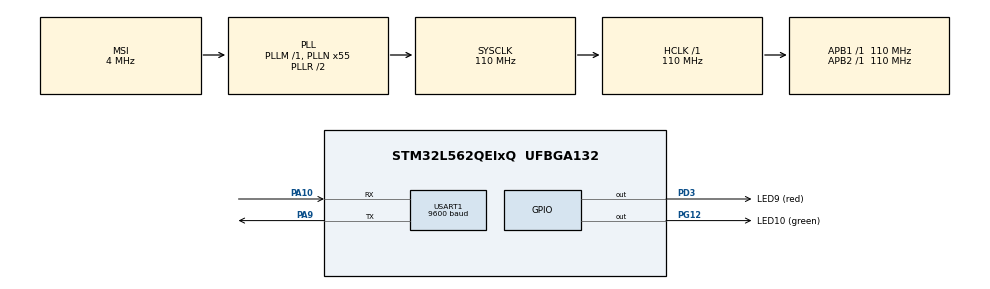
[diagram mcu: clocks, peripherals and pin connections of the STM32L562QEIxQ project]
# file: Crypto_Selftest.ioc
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FREERTOS.Tasks01=Crypto,24,5120,mbedTLS_Selftest_Thread,Default,NULL,Dynamic,NULL,NULL
FREERTOS.configTIMER_TASK_PRIORITY=32
FREERTOS.configTOTAL_HEAP_SIZE=51200
FREERTOS.configUSE_TRACE_FACILITY=1
HASH.DataType=HASH_DATATYPE_32B
HASH.SecureHashAlgorithmType=SHA1
MBEDTLS.MBEDTLS_AESNI_C=0
MBEDTLS.MBEDTLS_AES_ALT=1
MBEDTLS.MBEDTLS_AES_C=1
MBEDTLS.MBEDTLS_AES_DECRYPT_ALT=0
MBEDTLS.MBEDTLS_AES_ENCRYPT_ALT=0
MBEDTLS.MBEDTLS_AES_FEWER_TABLES=0
MBEDTLS.MBEDTLS_AES_ROM_TABLES=0
MBEDTLS.MBEDTLS_AES_SETKEY_DEC_ALT=0
MBEDTLS.MBEDTLS_AES_SETKEY_ENC_ALT=0
MBEDTLS.MBEDTLS_ARC4_ALT=0
MBEDTLS.MBEDTLS_ARC4_C=0
MBEDTLS.MBEDTLS_ARIA_ALT=0
MBEDTLS.MBEDTLS_ARIA_C=0
MBEDTLS.MBEDTLS_ASN1_PARSE_C=0
MBEDTLS.MBEDTLS_ASN1_WRITE_C=0
MBEDTLS.MBEDTLS_BASE64_C=0
MBEDTLS.MBEDTLS_BIGNUM_C=0
MBEDTLS.MBEDTLS_BLOWFISH_ALT=0
MBEDTLS.MBEDTLS_BLOWFISH_C=0
MBEDTLS.MBEDTLS_CAMELLIA_ALT=0
MBEDTLS.MBEDTLS_CAMELLIA_C=0
MBEDTLS.MBEDTLS_CAMELLIA_SMALL_MEMORY=0
MBEDTLS.MBEDTLS_CCM_ALT=1
MBEDTLS.MBEDTLS_CCM_C=1
MBEDTLS.MBEDTLS_CERTS_C=0
MBEDTLS.MBEDTLS_CHACHA20_ALT=0
MBEDTLS.MBEDTLS_CHACHA20_C=0
MBEDTLS.MBEDTLS_CHACHAPOLY_ALT=0
MBEDTLS.MBEDTLS_CHACHAPOLY_C=0
MBEDTLS.MBEDTLS_CIPHER_C=1
MBEDTLS.MBEDTLS_CIPHER_MODE_CBC=1
MBEDTLS.MBEDTLS_CIPHER_MODE_CFB=1
MBEDTLS.MBEDTLS_CIPHER_MODE_CTR=1
MBEDTLS.MBEDTLS_CIPHER_MODE_OFB=1
MBEDTLS.MBEDTLS_CIPHER_MODE_XTS=1
MBEDTLS.MBEDTLS_CIPHER_NULL_CIPHER=0
MBEDTLS.MBEDTLS_CIPHER_PADDING_ONE_AND_ZEROS=0
MBEDTLS.MBEDTLS_CIPHER_PADDING_PKCS7=0
MBEDTLS.MBEDTLS_CIPHER_PADDING_ZEROS=0
MBEDTLS.MBEDTLS_CIPHER_PADDING_ZEROS_AND_LEN=0
MBEDTLS.MBEDTLS_CMAC_ALT=0
MBEDTLS.MBEDTLS_CMAC_C=0
MBEDTLS.MBEDTLS_CTR_DRBG_C=0
MBEDTLS.MBEDTLS_CTR_DRBG_ENTROPY_LEN_ENABLE=0
MBEDTLS.MBEDTLS_CTR_DRBG_MAX_INPUT_ENABLE=0
MBEDTLS.MBEDTLS_CTR_DRBG_MAX_REQUEST_ENABLE=0
MBEDTLS.MBEDTLS_CTR_DRBG_MAX_SEED_INPUT_ENABLE=0
MBEDTLS.MBEDTLS_CTR_DRBG_RESEED_INTERVAL_ENABLE=0
MBEDTLS.MBEDTLS_CTR_DRBG_USE_128_BIT_KEY_ENABLE=0
MBEDTLS.MBEDTLS_DEBUG_C=0
MBEDTLS.MBEDTLS_DEPRECATED_REMOVED=0
MBEDTLS.MBEDTLS_DEPRECATED_WARNING=0
MBEDTLS.MBEDTLS_DES3_CRYPT_ECB_ALT=0
MBEDTLS.MBEDTLS_DES_ALT=0
MBEDTLS.MBEDTLS_DES_C=0
MBEDTLS.MBEDTLS_DES_CRYPT_ECB_ALT=0
MBEDTLS.MBEDTLS_DES_SETKEY_ALT=0
MBEDTLS.MBEDTLS_DHM_ALT=0
MBEDTLS.MBEDTLS_DHM_C=0
MBEDTLS.MBEDTLS_ECDH_C=0
MBEDTLS.MBEDTLS_ECDH_COMPUTE_SHARED_ALT=0
MBEDTLS.MBEDTLS_ECDH_GEN_PUBLIC_ALT=0
MBEDTLS.MBEDTLS_ECDSA_C=0
MBEDTLS.MBEDTLS_ECDSA_DETERMINISTIC=0
MBEDTLS.MBEDTLS_ECDSA_GENKEY_ALT=0
MBEDTLS.MBEDTLS_ECDSA_SIGN_ALT=0
MBEDTLS.MBEDTLS_ECDSA_VERIFY_ALT=0
MBEDTLS.MBEDTLS_ECJPAKE_ALT=0
MBEDTLS.MBEDTLS_ECJPAKE_C=0
MBEDTLS.MBEDTLS_ECP_ADD_MIXED_ALT=0
MBEDTLS.MBEDTLS_ECP_ALT=0
MBEDTLS.MBEDTLS_ECP_C=0
MBEDTLS.MBEDTLS_ECP_DOUBLE_ADD_MXZ_ALT=0
MBEDTLS.MBEDTLS_ECP_DOUBLE_JAC_ALT=0
MBEDTLS.MBEDTLS_ECP_DP_BP256R1_ENABLED=0
MBEDTLS.MBEDTLS_ECP_DP_BP384R1_ENABLED=0
MBEDTLS.MBEDTLS_ECP_DP_BP512R1_ENABLED=0
MBEDTLS.MBEDTLS_ECP_DP_CURVE25519_ENABLED=0
MBEDTLS.MBEDTLS_ECP_DP_CURVE448_ENABLED=0
MBEDTLS.MBEDTLS_ECP_DP_SECP192K1_ENABLED=0
MBEDTLS.MBEDTLS_ECP_DP_SECP192R1_ENABLED=0
MBEDTLS.MBEDTLS_ECP_DP_SECP224K1_ENABLED=0
MBEDTLS.MBEDTLS_ECP_DP_SECP224R1_ENABLED=0
MBEDTLS.MBEDTLS_ECP_DP_SECP256K1_ENABLED=0
MBEDTLS.MBEDTLS_ECP_DP_SECP256R1_ENABLED=0
MBEDTLS.MBEDTLS_ECP_DP_SECP384R1_ENABLED=0
MBEDTLS.MBEDTLS_ECP_DP_SECP521R1_ENABLED=0
MBEDTLS.MBEDTLS_ECP_FIXED_POINT_OPTIM_ENABLE=0
MBEDTLS.MBEDTLS_ECP_INTERNAL_ALT=0
MBEDTLS.MBEDTLS_ECP_MAX_BITS_ENABLE=0
MBEDTLS.MBEDTLS_ECP_NIST_OPTIM=0
MBEDTLS.MBEDTLS_ECP_NORMALIZE_JAC_ALT=0
MBEDTLS.MBEDTLS_ECP_NORMALIZE_JAC_MANY_ALT=0
MBEDTLS.MBEDTLS_ECP_NORMALIZE_MXZ_ALT=0
MBEDTLS.MBEDTLS_ECP_RANDOMIZE_JAC_ALT=0
MBEDTLS.MBEDTLS_ECP_RANDOMIZE_MXZ_ALT=0
MBEDTLS.MBEDTLS_ECP_RESTARTABLE=0
MBEDTLS.MBEDTLS_ECP_WINDOW_SIZE_ENABLE=0
MBEDTLS.MBEDTLS_ENABLE_WEAK_CIPHERSUITES=0
MBEDTLS.MBEDTLS_ENTROPY_C=1
MBEDTLS.MBEDTLS_ENTROPY_FORCE_SHA256=0
MBEDTLS.MBEDTLS_ENTROPY_HARDWARE_ALT=1
MBEDTLS.MBEDTLS_ENTROPY_MAX_GATHER_ENABLE=0
MBEDTLS.MBEDTLS_ENTROPY_MAX_SOURCES_ENABLE=0
MBEDTLS.MBEDTLS_ENTROPY_MIN_HARDWARE_ENABLE=0
MBEDTLS.MBEDTLS_ENTROPY_NV_SEED=0
MBEDTLS.MBEDTLS_ERROR_C=1
MBEDTLS.MBEDTLS_ERROR_STRERROR_DUMMY=0
MBEDTLS.MBEDTLS_FS_IO=0
MBEDTLS.MBEDTLS_GCM_ALT=1
MBEDTLS.MBEDTLS_GCM_C=1
MBEDTLS.MBEDTLS_GENPRIME=0
MBEDTLS.MBEDTLS_HAVEGE_C=0
MBEDTLS.MBEDTLS_HAVE_ASM=0
MBEDTLS.MBEDTLS_HAVE_SSE2=0
MBEDTLS.MBEDTLS_HAVE_TIME=1
MBEDTLS.MBEDTLS_HAVE_TIME_DATE=0
MBEDTLS.MBEDTLS_HKDF_C=0
MBEDTLS.MBEDTLS_HMAC_DRBG_C=0
MBEDTLS.MBEDTLS_HMAC_DRBG_MAX_INPUT_ENABLE=0
MBEDTLS.MBEDTLS_HMAC_DRBG_MAX_REQUEST_ENABLE=0
MBEDTLS.MBEDTLS_HMAC_DRBG_MAX_SEED_INPUT_ENABLE=0
MBEDTLS.MBEDTLS_HMAC_DRBG_RESEED_INTERVAL_ENABLE=0
MBEDTLS.MBEDTLS_KEY_EXCHANGE_DHE_PSK_ENABLED=0
MBEDTLS.MBEDTLS_KEY_EXCHANGE_DHE_RSA_ENABLED=0
MBEDTLS.MBEDTLS_KEY_EXCHANGE_ECDHE_ECDSA_ENABLED=0
MBEDTLS.MBEDTLS_KEY_EXCHANGE_ECDHE_PSK_ENABLED=0
MBEDTLS.MBEDTLS_KEY_EXCHANGE_ECDHE_RSA_ENABLED=0
MBEDTLS.MBEDTLS_KEY_EXCHANGE_ECDH_ECDSA_ENABLED=0
MBEDTLS.MBEDTLS_KEY_EXCHANGE_ECDH_RSA_ENABLED=0
MBEDTLS.MBEDTLS_KEY_EXCHANGE_ECJPAKE_ENABLED=0
MBEDTLS.MBEDTLS_KEY_EXCHANGE_PSK_ENABLED=0
MBEDTLS.MBEDTLS_KEY_EXCHANGE_RSA_ENABLED=0
MBEDTLS.MBEDTLS_KEY_EXCHANGE_RSA_PSK_ENABLED=0
MBEDTLS.MBEDTLS_MD2_ALT=0
MBEDTLS.MBEDTLS_MD2_C=0
MBEDTLS.MBEDTLS_MD2_PROCESS_ALT=0
MBEDTLS.MBEDTLS_MD4_ALT=0
MBEDTLS.MBEDTLS_MD4_C=0
MBEDTLS.MBEDTLS_MD4_PROCESS_ALT=0
MBEDTLS.MBEDTLS_MD5_ALT=1
MBEDTLS.MBEDTLS_MD5_C=1
MBEDTLS.MBEDTLS_MD5_PROCESS_ALT=0
MBEDTLS.MBEDTLS_MD_C=0
MBEDTLS.MBEDTLS_MEMORY_ALIGN_MULTIPLE_ENABLE=0
MBEDTLS.MBEDTLS_MEMORY_BACKTRACE=0
MBEDTLS.MBEDTLS_MEMORY_BUFFER_ALLOC_C=0
MBEDTLS.MBEDTLS_MEMORY_DEBUG=0
MBEDTLS.MBEDTLS_MPI_MAX_SIZE_ENABLE=0
MBEDTLS.MBEDTLS_MPI_WINDOW_SIZE_ENABLE=0
MBEDTLS.MBEDTLS_NET_C=0
MBEDTLS.MBEDTLS_NIST_KW_ALT=0
MBEDTLS.MBEDTLS_NIST_KW_C=0
MBEDTLS.MBEDTLS_NO_64BIT_MULTIPLICATION=0
MBEDTLS.MBEDTLS_NO_DEFAULT_ENTROPY_SOURCES=0
MBEDTLS.MBEDTLS_NO_PLATFORM_ENTROPY=1
MBEDTLS.MBEDTLS_NO_UDBL_DIVISION=0
MBEDTLS.MBEDTLS_OID_C=0
MBEDTLS.MBEDTLS_PADLOCK_C=0
MBEDTLS.MBEDTLS_PEM_PARSE_C=0
MBEDTLS.MBEDTLS_PEM_WRITE_C=0
MBEDTLS.MBEDTLS_PKCS11_C=0
MBEDTLS.MBEDTLS_PKCS12_C=0
MBEDTLS.MBEDTLS_PKCS1_V15=0
MBEDTLS.MBEDTLS_PKCS1_V21=0
MBEDTLS.MBEDTLS_PKCS5_C=0
MBEDTLS.MBEDTLS_PK_C=0
MBEDTLS.MBEDTLS_PK_PARSE_C=0
MBEDTLS.MBEDTLS_PK_PARSE_EC_EXTENDED=0
MBEDTLS.MBEDTLS_PK_RSA_ALT_SUPPORT=0
MBEDTLS.MBEDTLS_PK_WRITE_C=0
MBEDTLS.MBEDTLS_PLATFORM_C=1
MBEDTLS.MBEDTLS_PLATFORM_CALLOC_MACRO_ENABLE=0
MBEDTLS.MBEDTLS_PLATFORM_EXIT_ALT=0
MBEDTLS.MBEDTLS_PLATFORM_EXIT_MACRO_ENABLE=0
MBEDTLS.MBEDTLS_PLATFORM_FPRINTF_ALT=0
MBEDTLS.MBEDTLS_PLATFORM_FPRINTF_MACRO_ENABLE=0
MBEDTLS.MBEDTLS_PLATFORM_FREE_MACRO_ENABLE=0
MBEDTLS.MBEDTLS_PLATFORM_GMTIME_R_ALT=0
MBEDTLS.MBEDTLS_PLATFORM_MEMORY=0
MBEDTLS.MBEDTLS_PLATFORM_NO_STD_FUNCTIONS=0
MBEDTLS.MBEDTLS_PLATFORM_NV_SEED_ALT=0
MBEDTLS.MBEDTLS_PLATFORM_NV_SEED_READ_MACRO_ENABLE=0
MBEDTLS.MBEDTLS_PLATFORM_NV_SEED_WRITE_MACRO_ENABLE=0
MBEDTLS.MBEDTLS_PLATFORM_PRINTF_ALT=0
MBEDTLS.MBEDTLS_PLATFORM_PRINTF_MACRO_ENABLE=0
MBEDTLS.MBEDTLS_PLATFORM_SETUP_TEARDOWN_ALT=0
MBEDTLS.MBEDTLS_PLATFORM_SNPRINTF_ALT=0
MBEDTLS.MBEDTLS_PLATFORM_SNPRINTF_MACRO_ENABLE=0
MBEDTLS.MBEDTLS_PLATFORM_STD_CALLOC_ENABLE=0
MBEDTLS.MBEDTLS_PLATFORM_STD_EXIT_ENABLE=0
MBEDTLS.MBEDTLS_PLATFORM_STD_EXIT_FAILURE_ENABLE=0
MBEDTLS.MBEDTLS_PLATFORM_STD_EXIT_SUCCESS_ENABLE=0
MBEDTLS.MBEDTLS_PLATFORM_STD_FPRINTF_ENABLE=0
MBEDTLS.MBEDTLS_PLATFORM_STD_FREE_ENABLE=0
MBEDTLS.MBEDTLS_PLATFORM_STD_MEM_HDR_ENABLE=0
MBEDTLS.MBEDTLS_PLATFORM_STD_NV_SEED_FILE_ENABLE=0
MBEDTLS.MBEDTLS_PLATFORM_STD_NV_SEED_READ_ENABLE=0
MBEDTLS.MBEDTLS_PLATFORM_STD_NV_SEED_WRITE_ENABLE=0
MBEDTLS.MBEDTLS_PLATFORM_STD_PRINTF_ENABLE=0
MBEDTLS.MBEDTLS_PLATFORM_STD_SNPRINTF_ENABLE=0
MBEDTLS.MBEDTLS_PLATFORM_STD_TIME_ENABLE=0
MBEDTLS.MBEDTLS_PLATFORM_TIME_ALT=0
MBEDTLS.MBEDTLS_PLATFORM_TIME_MACRO_ENABLE=0
MBEDTLS.MBEDTLS_PLATFORM_TIME_TYPE_MACRO_ENABLE=0
MBEDTLS.MBEDTLS_PLATFORM_ZEROIZE_ALT=0
MBEDTLS.MBEDTLS_POLY1305_ALT=0
MBEDTLS.MBEDTLS_POLY1305_C=0
MBEDTLS.MBEDTLS_PSK_MAX_LEN_ENABLE=0
MBEDTLS.MBEDTLS_REMOVE_ARC4_CIPHERSUITES=1
MBEDTLS.MBEDTLS_RIPEMD160_ALT=0
MBEDTLS.MBEDTLS_RIPEMD160_C=0
MBEDTLS.MBEDTLS_RIPEMD160_PROCESS_ALT=0
MBEDTLS.MBEDTLS_RNG_IP=HW_RNG
MBEDTLS.MBEDTLS_RSA_ALT=0
MBEDTLS.MBEDTLS_RSA_C=0
MBEDTLS.MBEDTLS_RSA_NO_CRT=0
MBEDTLS.MBEDTLS_SELF_TEST=1
MBEDTLS.MBEDTLS_SHA1_ALT=1
MBEDTLS.MBEDTLS_SHA1_C=1
MBEDTLS.MBEDTLS_SHA1_PROCESS_ALT=0
MBEDTLS.MBEDTLS_SHA256_ALT=1
MBEDTLS.MBEDTLS_SHA256_C=1
MBEDTLS.MBEDTLS_SHA256_PROCESS_ALT=0
MBEDTLS.MBEDTLS_SHA256_SMALLER=0
MBEDTLS.MBEDTLS_SHA512_ALT=0
MBEDTLS.MBEDTLS_SHA512_C=0
MBEDTLS.MBEDTLS_SHA512_PROCESS_ALT=0
MBEDTLS.MBEDTLS_SSL_ALL_ALERT_MESSAGES=0
MBEDTLS.MBEDTLS_SSL_ALPN=0
MBEDTLS.MBEDTLS_SSL_ASYNC_PRIVATE=0
MBEDTLS.MBEDTLS_SSL_CACHE_C=0
MBEDTLS.MBEDTLS_SSL_CACHE_DEFAULT_MAX_ENTRIES_ENABLE=0
MBEDTLS.MBEDTLS_SSL_CACHE_DEFAULT_TIMEOUT_ENABLE=0
MBEDTLS.MBEDTLS_SSL_CBC_RECORD_SPLITTING=0
MBEDTLS.MBEDTLS_SSL_CIPHERSUITES_ENABLE=0
MBEDTLS.MBEDTLS_SSL_CLI_C=0
MBEDTLS.MBEDTLS_SSL_COOKIE_C=0
MBEDTLS.MBEDTLS_SSL_COOKIE_TIMEOUT_ENABLE=0
MBEDTLS.MBEDTLS_SSL_DEBUG_ALL=0
MBEDTLS.MBEDTLS_SSL_DEFAULT_TICKET_LIFETIME_ENABLE=0
MBEDTLS.MBEDTLS_SSL_DTLS_ANTI_REPLAY=0
MBEDTLS.MBEDTLS_SSL_DTLS_BADMAC_LIMIT=0
MBEDTLS.MBEDTLS_SSL_DTLS_CLIENT_PORT_REUSE=0
MBEDTLS.MBEDTLS_SSL_DTLS_HELLO_VERIFY=0
MBEDTLS.MBEDTLS_SSL_DTLS_MAX_BUFFERING_ENABLE=0
MBEDTLS.MBEDTLS_SSL_ENCRYPT_THEN_MAC=0
MBEDTLS.MBEDTLS_SSL_EXPORT_KEYS=0
MBEDTLS.MBEDTLS_SSL_EXTENDED_MASTER_SECRET=0
MBEDTLS.MBEDTLS_SSL_FALLBACK_SCSV=0
MBEDTLS.MBEDTLS_SSL_HW_RECORD_ACCEL=0
MBEDTLS.MBEDTLS_SSL_IN_CONTENT_LEN_ENABLE=0
MBEDTLS.MBEDTLS_SSL_MAX_CONTENT_LEN_ENABLE=0
MBEDTLS.MBEDTLS_SSL_MAX_FRAGMENT_LENGTH=0
MBEDTLS.MBEDTLS_SSL_OUT_CONTENT_LEN_ENABLE=0
MBEDTLS.MBEDTLS_SSL_PROTO_DTLS=0
MBEDTLS.MBEDTLS_SSL_PROTO_SSL3=0
MBEDTLS.MBEDTLS_SSL_PROTO_TLS1=0
MBEDTLS.MBEDTLS_SSL_PROTO_TLS1_1=0
MBEDTLS.MBEDTLS_SSL_PROTO_TLS1_2=0
MBEDTLS.MBEDTLS_SSL_RENEGOTIATION=0
MBEDTLS.MBEDTLS_SSL_SERVER_NAME_INDICATION=0
MBEDTLS.MBEDTLS_SSL_SESSION_TICKETS=0
MBEDTLS.MBEDTLS_SSL_SRV_C=0
MBEDTLS.MBEDTLS_SSL_SRV_RESPECT_CLIENT_PREFERENCE=0
MBEDTLS.MBEDTLS_SSL_SRV_SUPPORT_SSLV2_CLIENT_HELLO=0
MBEDTLS.MBEDTLS_SSL_TICKET_C=0
MBEDTLS.MBEDTLS_SSL_TLS_C=0
MBEDTLS.MBEDTLS_SSL_TRUNCATED_HMAC=0
MBEDTLS.MBEDTLS_SSL_TRUNCATED_HMAC_COMPAT=0
MBEDTLS.MBEDTLS_TCP_IP=0
MBEDTLS.MBEDTLS_TEST_NULL_ENTROPY=0
MBEDTLS.MBEDTLS_THREADING_ALT=0
MBEDTLS.MBEDTLS_THREADING_C=0
MBEDTLS.MBEDTLS_THREADING_PTHREAD=0
MBEDTLS.MBEDTLS_TIMING_ALT=1
MBEDTLS.MBEDTLS_TIMING_C=1
MBEDTLS.MBEDTLS_TLS_DEFAULT_ALLOW_SHA1_IN_CERTIFICATES=0
MBEDTLS.MBEDTLS_TLS_DEFAULT_ALLOW_SHA1_IN_KEY_EXCHANGE=0
MBEDTLS.MBEDTLS_VERSION_C=1
MBEDTLS.MBEDTLS_VERSION_FEATURES=1
MBEDTLS.MBEDTLS_X509_ALLOW_EXTENSIONS_NON_V3=0
MBEDTLS.MBEDTLS_X509_ALLOW_UNSUPPORTED_CRITICAL_EXTENSION=0
MBEDTLS.MBEDTLS_X509_CHECK_EXTENDED_KEY_USAGE=0
MBEDTLS.MBEDTLS_X509_CHECK_KEY_USAGE=0
MBEDTLS.MBEDTLS_X509_CREATE_C=0
MBEDTLS.MBEDTLS_X509_CRL_PARSE_C=0
MBEDTLS.MBEDTLS_X509_CRT_PARSE_C=0
MBEDTLS.MBEDTLS_X509_CRT_WRITE_C=0
MBEDTLS.MBEDTLS_X509_CSR_PARSE_C=0
MBEDTLS.MBEDTLS_X509_CSR_WRITE_C=0
MBEDTLS.MBEDTLS_X509_MAX_FILE_PATH_LEN_ENABLE=0
MBEDTLS.MBEDTLS_X509_MAX_INTERMEDIATE_CA_ENABLE=0
MBEDTLS.MBEDTLS_X509_RSASSA_PSS_SUPPORT=0
MBEDTLS.MBEDTLS_X509_USE_C=0
MBEDTLS.MBEDTLS_XTEA_ALT=0
MBEDTLS.MBEDTLS_XTEA_C=0
MBEDTLS.MBEDTLS_ZLIB_SUPPORT=0
MBEDTLS.YOTTA_CFG_MBEDTLS_TARGET_CONFIG_FILE_ENABLE=0
Mcu.Family=STM32L5
Mcu.Name=STM32L562QEIxQ
Mcu.Package=UFBGA132
NVIC.PriorityGroup=NVIC_PRIORITYGROUP_3
NVIC.TIM6_IRQn=true\:0\:0\:false\:false\:true\:false\:true\:true\:true
NVIC.TimeBase=TIM6_IRQn
NVIC.TimeBaseIP=TIM6
PA10.GPIO_PuPd=GPIO_PULLUP
PA10.GPIO_Speed=GPIO_SPEED_FREQ_VERY_HIGH
PA10.Mode=Asynchronous
PA10.Signal=USART1_RX
PA9.GPIO_ModeDefaultPP=GPIO_MODE_AF_PP
PA9.GPIO_PuPd=GPIO_PULLUP
PA9.GPIO_Speed=GPIO_SPEED_FREQ_VERY_HIGH
PA9.Mode=Asynchronous
PA9.Signal=USART1_TX
PD3.GPIO_Label=LED9 (red)
PD3.PinState=GPIO_PIN_SET
PD3.Signal=GPIO_Output
PG12.GPIO_Label=LED10 (green)
PG12.PinState=GPIO_PIN_SET
PG12.Signal=GPIO_Output
PH0-OSC_IN\ (PH0).Mode=HSE-External-Oscillator
PH0-OSC_IN\ (PH0).Signal=RCC_OSC_IN
PH1-OSC_OUT\ (PH1).Mode=HSE-External-Oscillator
PH1-OSC_OUT\ (PH1).Signal=RCC_OSC_OUT
ProjectManager.HeapSize=0x1000
ProjectManager.StackSize=0x1000
ProjectManager.TargetToolchain=EWARM V8.32
RCC.ADCFreq_Value=16000000
RCC.AHBFreq_Value=110000000
RCC.APB1Freq_Value=110000000
RCC.APB1TimFreq_Value=110000000
RCC.APB2Freq_Value=110000000
RCC.APB2TimFreq_Value=110000000
RCC.CK48CLockSelection=RCC_USBCLKSOURCE_HSI48
RCC.CortexFreq_Value=110000000
RCC.HCLKFreq_Value=110000000
RCC.HSE_VALUE=8000000
RCC.HSI48_VALUE=48000000
RCC.HSI_VALUE=16000000
RCC.LSE_VALUE=32768
RCC.MSI_VALUE=4000000
RCC.PLLN=55
RCC.SYSCLKFreq_VALUE=110000000
RCC.SYSCLKSource=RCC_SYSCLKSOURCE_PLLCLK
RCC.USBFreq_Value=48000000
RCC.VCOOutputFreq_Value=220000000
RNG.ClockErrorDetection=RNG_CED_ENABLE
USART1.AutoBaudRateEnableParam=UART_ADVFEATURE_AUTOBAUDRATE_DISABLE
USART1.BaudRate=9600
USART1.ClockPrescaler=PRESCALER_DIV1
USART1.DMADisableonRxErrorParam=ADVFEATURE_DMA_ENABLEONRXERROR
USART1.DataInvertParam=ADVFEATURE_DATAINV_DISABLE
USART1.FIFOMode=FIFOMODE_DISABLE
USART1.MSBFirstParam=ADVFEATURE_MSBFIRST_DISABLE
USART1.Mode=MODE_TX_RX
USART1.OneBitSampling=UART_ONE_BIT_SAMPLE_DISABLE
USART1.OverSampling=UART_OVERSAMPLING_16
USART1.OverrunDisableParam=ADVFEATURE_OVERRUN_ENABLE
USART1.Parity=PARITY_NONE
USART1.RXFIFOThreshold=RXFIFO_THRESHOLD_1EIGHTHFULL
USART1.RxPinLevelInvertParam=ADVFEATURE_RXINV_DISABLE
USART1.StopBits=STOPBITS_1
USART1.SwapParam=ADVFEATURE_SWAP_DISABLE
USART1.TXFIFOThreshold=TXFIFO_THRESHOLD_1EIGHTHFULL
USART1.TxPinLevelInvertParam=ADVFEATURE_TXINV_DISABLE
USART1.VirtualMode-Asynchronous=VM_ASYNC
USART1.WordLength=WORDLENGTH_8B
VP_AES_VS_AES.Mode=AES_Activate
VP_FREERTOS_VS_CMSIS_V2.Mode=CMSIS_V2
VP_HASH_VS_HASH.Mode=HASH_Activate
VP_ICACHE_VS_ICACHE.Mode=DirectMappedCache
VP_MBEDTLS_VS_MBEDTLS.Mode=Enabled
VP_PWR_VS_DBSignals.Mode=DisableDeadBatterySignals
VP_RNG_VS_RNG.Mode=RNG_Activate
VP_SYS_VS_tim6.Mode=TIM6
board=STM32L562E-DK

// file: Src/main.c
/* USER CODE BEGIN Header */
/**
  ******************************************************************************
  * @file    mbedTLS\Crypto_Selftest\Src\main.c
  * @author  MCD Application Team
  * @brief   Main program body
  *          This application runs the various selftest functions of individual
  *          mbed TLS components.
  ******************************************************************************
  * @attention
  *
  * Copyright (c) 2020 STMicroelectronics.
  * All rights reserved.
  *
  * This software is licensed under terms that can be found in the LICENSE file
  * in the root directory of this software component.
  * If no LICENSE file comes with this software, it is provided AS-IS.
  *
  ******************************************************************************
  */
/* USER CODE END Header */
#include "main.h"
#include "cmsis_os.h"
#include "mbedtls.h"

/* USER CODE BEGIN Includes */
#if defined(__ICCARM__)
#include <LowLevelIOInterface.h>
#endif /* __ICCARM__ */

/* USER CODE END Includes */

/* USER CODE BEGIN PD */
const LCD_UTILS_Drv_t LCD_Driver =
{
  BSP_LCD_DrawBitmap,
  BSP_LCD_FillRGBRect,
  BSP_LCD_DrawHLine,
  BSP_LCD_DrawVLine,
  BSP_LCD_FillRect,
  BSP_LCD_ReadPixel,
  BSP_LCD_WritePixel,
  BSP_LCD_GetXSize,
  BSP_LCD_GetYSize,
  NULL,
  BSP_LCD_GetFormat
};
/* USER CODE END PD */

/* USER CODE BEGIN PM */
#if defined(__ICCARM__) || defined ( __CC_ARM ) || defined(__ARMCC_VERSION)
int io_putchar(int ch);
#define PUTCHAR_PROTOTYPE int io_putchar(int ch)
#elif defined(__GNUC__)
int __io_putchar(int ch);
#define PUTCHAR_PROTOTYPE int __io_putchar(int ch)
#endif /* __ICCARM__ */

/* USER CODE END PM */

CRYP_HandleTypeDef hcryp;
__ALIGN_BEGIN static const uint32_t pKeyAES[4] __ALIGN_END = {
                            0x00000000,0x00000000,0x00000000,0x00000000};

HASH_HandleTypeDef hhash;

RNG_HandleTypeDef hrng;

UART_HandleTypeDef huart1;

/* Definitions for Crypto */
osThreadId_t CryptoHandle;
const osThreadAttr_t Crypto_attributes = {
  .name = "Crypto",
  .priority = (osPriority_t) osPriorityNormal,
  .stack_size = 5120 * 4
};
/* USER CODE BEGIN PV */
/* FreeRTOS buffer for static allocation */
#if (configAPPLICATION_ALLOCATED_HEAP == 1)
uint8_t ucHeap[ configTOTAL_HEAP_SIZE ];
#endif
/* USER CODE END PV */

void SystemClock_Config(void);
static void MX_GPIO_Init(void);
static void MX_ICACHE_Init(void);
static void MX_RNG_Init(void);
static void MX_USART1_UART_Init(void);
static void MX_HASH_Init(void);
static void MX_AES_Init(void);
void mbedTLS_Selftest_Thread(void *argument);

/* USER CODE BEGIN PFP */
static void LCD_Init(void);

/* Redirects printf to DRIVER_STDIO in case of ARMCLANG*/
#if defined(__ARMCC_VERSION)
FILE __stdout;

/* __ARMCC_VERSION is only defined starting from Arm compiler version 6 */
int fputc(int ch, FILE *f)
{
  /* Send byte to USART */
  io_putchar(ch);

  /* Return character written */
  return ch;
}
#elif defined(__GNUC__)
/* Redirects printf to DRIVER_STDIO in case of ARMCLANG*/
int _write(int fd, char *str, int len)
{
  int i;

  for (i = 0; i < len; i++)
  {
    /* Send byte to USART */
    __io_putchar(str[i]);
  }

  /* Return the number of characters written */
  return len;
}
#elif defined(__ICCARM__)
size_t __write(int file, unsigned char const *ptr, size_t len)
{
  size_t idx;
  unsigned char const *pdata = ptr;

  for (idx=0; idx < len; idx++)
  {
    io_putchar((int)*pdata);
    pdata++;
  }
  return len;
}
#endif /*  __GNUC__ */
/* USER CODE END PFP */

int main(void)
{

  /* MCU Configuration--------------------------------------------------------*/

  /* Reset of all peripherals, Initializes the Flash interface and the Systick. */
  HAL_Init();

  /* Configure the system clock */
  SystemClock_Config();

  /* Initialize all configured peripherals */
  MX_GPIO_Init();
  MX_ICACHE_Init();
  MX_RNG_Init();
  MX_USART1_UART_Init();
  MX_HASH_Init();
  MX_AES_Init();
  /* Call PreOsInit function */
  MX_MBEDTLS_Init();
  /* USER CODE BEGIN 2 */
  /* Initialize BSP Led for LED9 and LED10 */
  BSP_LED_Init(LED_RED);
  BSP_LED_Init(LED_GREEN);

  LCD_Init();

  UTIL_LCD_SetFont(&Font12);
  UTIL_LCD_DisplayStringAt(0, 10, (uint8_t *)"mbedTLS : Crypto Selftest App", CENTER_MODE);

  printf("\nmbedTLS : Crypto Selftest Application\n");
  /* USER CODE END 2 */

  /* Init scheduler */
  osKernelInitialize();

  /* Create the thread(s) */
  /* creation of Crypto */
  CryptoHandle = osThreadNew(mbedTLS_Selftest_Thread, NULL, &Crypto_attributes);

  /* Start scheduler */
  osKernelStart();

  /* We should never get here as control is now taken by the scheduler */
  /* Infinite loop */
  /* USER CODE BEGIN WHILE */
  while (1)
  {
    Error_Handler();
    /* USER CODE END WHILE */

  }
}

void SystemClock_Config(void)
{
  RCC_OscInitTypeDef RCC_OscInitStruct = {0};
  RCC_ClkInitTypeDef RCC_ClkInitStruct = {0};

  /** Configure the main internal regulator output voltage
  */
  if (HAL_PWREx_ControlVoltageScaling(PWR_REGULATOR_VOLTAGE_SCALE0) != HAL_OK)
  {
    Error_Handler();
  }

  /** Initializes the RCC Oscillators according to the specified parameters
  * in the RCC_OscInitTypeDef structure.
  */
  RCC_OscInitStruct.OscillatorType = RCC_OSCILLATORTYPE_HSI48|RCC_OSCILLATORTYPE_MSI;
  RCC_OscInitStruct.HSI48State = RCC_HSI48_ON;
  RCC_OscInitStruct.MSIState = RCC_MSI_ON;
  RCC_OscInitStruct.MSICalibrationValue = RCC_MSICALIBRATION_DEFAULT;
  RCC_OscInitStruct.MSIClockRange = RCC_MSIRANGE_6;
  RCC_OscInitStruct.PLL.PLLState = RCC_PLL_ON;
  RCC_OscInitStruct.PLL.PLLSource = RCC_PLLSOURCE_MSI;
  RCC_OscInitStruct.PLL.PLLM = 1;
  RCC_OscInitStruct.PLL.PLLN = 55;
  RCC_OscInitStruct.PLL.PLLP = RCC_PLLP_DIV7;
  RCC_OscInitStruct.PLL.PLLQ = RCC_PLLQ_DIV2;
  RCC_OscInitStruct.PLL.PLLR = RCC_PLLR_DIV2;
  if (HAL_RCC_OscConfig(&RCC_OscInitStruct) != HAL_OK)
  {
    Error_Handler();
  }

  /** Initializes the CPU, AHB and APB buses clocks
  */
  RCC_ClkInitStruct.ClockType = RCC_CLOCKTYPE_HCLK|RCC_CLOCKTYPE_SYSCLK
                              |RCC_CLOCKTYPE_PCLK1|RCC_CLOCKTYPE_PCLK2;
  RCC_ClkInitStruct.SYSCLKSource = RCC_SYSCLKSOURCE_PLLCLK;
  RCC_ClkInitStruct.AHBCLKDivider = RCC_SYSCLK_DIV1;
  RCC_ClkInitStruct.APB1CLKDivider = RCC_HCLK_DIV1;
  RCC_ClkInitStruct.APB2CLKDivider = RCC_HCLK_DIV1;

  if (HAL_RCC_ClockConfig(&RCC_ClkInitStruct, FLASH_LATENCY_5) != HAL_OK)
  {
    Error_Handler();
  }
}

static void MX_AES_Init(void)
{

  hcryp.Instance = AES;
  hcryp.Init.DataType = CRYP_DATATYPE_32B;
  hcryp.Init.KeySize = CRYP_KEYSIZE_128B;
  hcryp.Init.pKey = (uint32_t *)pKeyAES;
  hcryp.Init.Algorithm = CRYP_AES_ECB;
  hcryp.Init.DataWidthUnit = CRYP_DATAWIDTHUNIT_WORD;
  hcryp.Init.KeyIVConfigSkip = CRYP_KEYIVCONFIG_ALWAYS;
  if (HAL_CRYP_Init(&hcryp) != HAL_OK)
  {
    Error_Handler();
  }

}

static void MX_HASH_Init(void)
{

  hhash.Init.DataType = HASH_DATATYPE_32B;
  if (HAL_HASH_Init(&hhash) != HAL_OK)
  {
    Error_Handler();
  }

}

static void MX_ICACHE_Init(void)
{

  /** Enable instruction cache in 1-way (direct mapped cache)
  */
  if (HAL_ICACHE_ConfigAssociativityMode(ICACHE_1WAY) != HAL_OK)
  {
    Error_Handler();
  }
  if (HAL_ICACHE_Enable() != HAL_OK)
  {
    Error_Handler();
  }

}

static void MX_RNG_Init(void)
{

  hrng.Instance = RNG;
  hrng.Init.ClockErrorDetection = RNG_CED_ENABLE;
  if (HAL_RNG_Init(&hrng) != HAL_OK)
  {
    Error_Handler();
  }

}

static void MX_USART1_UART_Init(void)
{

  huart1.Instance = USART1;
  huart1.Init.BaudRate = 9600;
  huart1.Init.WordLength = UART_WORDLENGTH_8B;
  huart1.Init.StopBits = UART_STOPBITS_1;
  huart1.Init.Parity = UART_PARITY_NONE;
  huart1.Init.Mode = UART_MODE_TX_RX;
  huart1.Init.HwFlowCtl = UART_HWCONTROL_NONE;
  huart1.Init.OverSampling = UART_OVERSAMPLING_16;
  huart1.Init.OneBitSampling = UART_ONE_BIT_SAMPLE_DISABLE;
  huart1.Init.ClockPrescaler = UART_PRESCALER_DIV1;
  huart1.AdvancedInit.AdvFeatureInit = UART_ADVFEATURE_NO_INIT;
  if (HAL_UART_Init(&huart1) != HAL_OK)
  {
    Error_Handler();
  }
  if (HAL_UARTEx_SetTxFifoThreshold(&huart1, UART_TXFIFO_THRESHOLD_1_8) != HAL_OK)
  {
    Error_Handler();
  }
  if (HAL_UARTEx_SetRxFifoThreshold(&huart1, UART_RXFIFO_THRESHOLD_1_8) != HAL_OK)
  {
    Error_Handler();
  }
  if (HAL_UARTEx_DisableFifoMode(&huart1) != HAL_OK)
  {
    Error_Handler();
  }

}

static void MX_GPIO_Init(void)
{
  GPIO_InitTypeDef GPIO_InitStruct = {0};

  /* GPIO Ports Clock Enable */
  __HAL_RCC_GPIOG_CLK_ENABLE();
  HAL_PWREx_EnableVddIO2();
  __HAL_RCC_GPIOD_CLK_ENABLE();
  __HAL_RCC_GPIOA_CLK_ENABLE();
  __HAL_RCC_GPIOH_CLK_ENABLE();

  /*Configure GPIO pin Output Level */
  HAL_GPIO_WritePin(LED10_GPIO_Port, LED10_Pin, GPIO_PIN_SET);

  /*Configure GPIO pin Output Level */
  HAL_GPIO_WritePin(LED9_GPIO_Port, LED9_Pin, GPIO_PIN_SET);

  /*Configure GPIO pin : LED10_Pin */
  GPIO_InitStruct.Pin = LED10_Pin;
  GPIO_InitStruct.Mode = GPIO_MODE_OUTPUT_PP;
  GPIO_InitStruct.Pull = GPIO_NOPULL;
  GPIO_InitStruct.Speed = GPIO_SPEED_FREQ_LOW;
  HAL_GPIO_Init(LED10_GPIO_Port, &GPIO_InitStruct);

  /*Configure GPIO pin : LED9_Pin */
  GPIO_InitStruct.Pin = LED9_Pin;
  GPIO_InitStruct.Mode = GPIO_MODE_OUTPUT_PP;
  GPIO_InitStruct.Pull = GPIO_NOPULL;
  GPIO_InitStruct.Speed = GPIO_SPEED_FREQ_LOW;
  HAL_GPIO_Init(LED9_GPIO_Port, &GPIO_InitStruct);

}

/* USER CODE BEGIN 4 */
static void LCD_Init(void)
{
  uint32_t x_size;

  /* Initialize the LCD */
  BSP_LCD_Init(0, LCD_ORIENTATION_PORTRAIT);
  UTIL_LCD_SetFuncDriver(&LCD_Driver); /* SetFunc before setting device */
  UTIL_LCD_SetDevice(0);               /* SetDevice after funcDriver is set */

  /* Clear the LCD */
  UTIL_LCD_Clear(UTIL_LCD_COLOR_WHITE);
  BSP_LCD_DisplayOn(0);
  BSP_LCD_GetXSize(0, &x_size);

  UTIL_LCD_FillRect(0, 0, x_size, 30, UTIL_LCD_COLOR_BLUE);

  /* Set the LCD Text Color */
  UTIL_LCD_SetTextColor(UTIL_LCD_COLOR_DARKBLUE);
  UTIL_LCD_SetBackColor(UTIL_LCD_COLOR_WHITE);
}

/**
  * @brief  Retargets the C library printf function to the USART.
  * @param  None
  * @retval None
  */
PUTCHAR_PROTOTYPE
{
  /* Place your implementation of fputc here */
  /* e.g. write a character to the USART1 and Loop until the end of transmission */
  HAL_UART_Transmit(&huart1, (uint8_t *)&ch, 1, 0xFFFF);

  return ch;
}

/* USER CODE END 4 */

void mbedTLS_Selftest_Thread(void *argument)
{
  /* USER CODE BEGIN 5 */
  UNUSED(argument);

  UTIL_LCD_DisplayStringAt(0, 30, (uint8_t *)"Starting Crypto Thread...", LEFT_MODE);
  printf("\r\nStarting Crypto Thread...\n");

  MX_MBEDTLS_Init();

  mbedTLS_Selftest();

  /* Infinite loop */
  for(;;)
  {
    BSP_LED_Toggle(LED_GREEN);
    osDelay(200);
  }
  /* USER CODE END 5 */
}

void HAL_TIM_PeriodElapsedCallback(TIM_HandleTypeDef *htim)
{
  if (htim->Instance == TIM6)
  {
    HAL_IncTick();
  }
}

void Error_Handler(void)
{
  /* USER CODE BEGIN Error_Handler_Debug */
  /* User can add his own implementation to report the HAL error return state */
  while (1)
  {
    BSP_LED_Toggle(LED_RED);
    osDelay(100);
  }
  /* USER CODE END Error_Handler_Debug */
}

#ifdef USE_FULL_ASSERT
/**
  * @brief  Reports the name of the source file and the source line number
  *         where the assert_param error has occurred.
  * @param  file: pointer to the source file name
  * @param  line: assert_param error line source number
  * @retval None
  */
void assert_failed(uint8_t *file, uint32_t line)
{
  /* USER CODE BEGIN 6 */
  /* User can add his own implementation to report the file name and line number,
     tex: printf("Wrong parameters value: file %s on line %d\r\n", file, line) */
  /* Infinite loop */
  while (1)
  {}
  /* USER CODE END 6 */
}
#endif /* USE_FULL_ASSERT */
